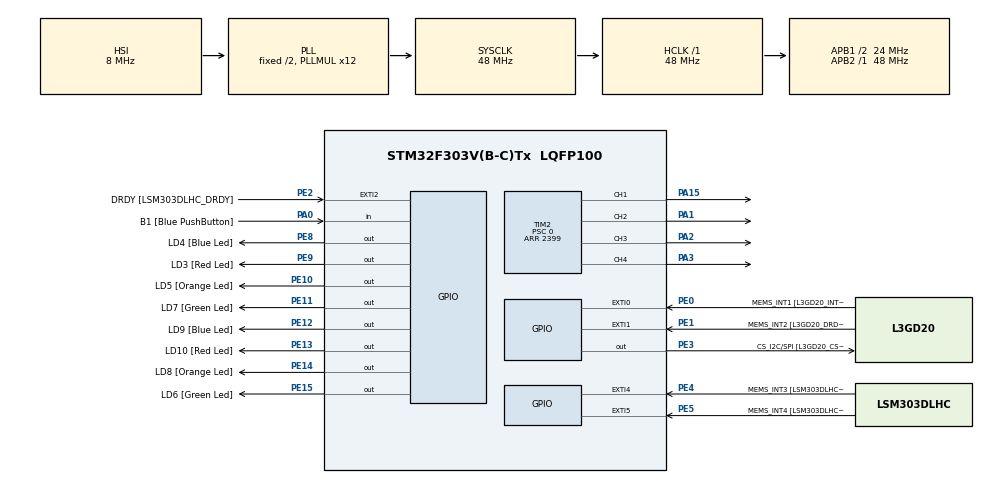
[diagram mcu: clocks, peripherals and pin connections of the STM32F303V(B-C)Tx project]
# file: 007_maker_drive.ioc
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Mcu.Family=STM32F3
Mcu.Name=STM32F303V(B-C)Tx
Mcu.Package=LQFP100
NVIC.PriorityGroup=NVIC_PRIORITYGROUP_0
NVIC.TIM2_IRQn=true\:0\:0\:false\:false\:true\:true\:true\:true
PA0.GPIO_Label=B1 [Blue PushButton]
PA0.GPIO_Mode=GPIO_MODE_INPUT
PA0.GPIO_PuPd=GPIO_NOPULL
PA0.Signal=GPIO_Input
PA1.Signal=S_TIM2_CH2
PA11.GPIO_Label=DM
PA11.Signal=USB_DM
PA12.GPIO_Label=DP
PA12.Signal=USB_DP
PA13.GPIO_Label=SWDIO
PA13.Signal=SYS_JTMS-SWDIO
PA14.GPIO_Label=SWCLK
PA14.Signal=SYS_JTCK-SWCLK
PA15.Signal=S_TIM2_CH1_ETR
PA2.Signal=S_TIM2_CH3
PA3.Signal=S_TIM2_CH4
PA5.GPIO_Label=SPI1_SCK [L3GD20_SCL/SPC]
PA5.GPIO_Mode=GPIO_MODE_AF_PP
PA5.GPIO_PuPd=GPIO_NOPULL
PA5.GPIO_Speed=GPIO_SPEED_FREQ_LOW
PA5.Signal=SPI1_SCK
PA6.GPIO_Label=SPI1_MISO [L3GD20_SA0/SDO]
PA6.GPIO_Mode=GPIO_MODE_AF_PP
PA6.GPIO_PuPd=GPIO_NOPULL
PA6.GPIO_Speed=GPIO_SPEED_FREQ_LOW
PA6.Signal=SPI1_MISO
PA7.GPIO_Label=SPI1_MISO [L3GD20_SDA/SDI/SDO]
PA7.GPIO_Mode=GPIO_MODE_AF_PP
PA7.GPIO_PuPd=GPIO_NOPULL
PA7.GPIO_Speed=GPIO_SPEED_FREQ_LOW
PA7.Signal=SPI1_MOSI
PB3.GPIO_Label=SWO
PB3.Signal=SYS_JTDO-TRACESWO
PB6.GPIO_FM6=__NULL
PB6.GPIO_Label=I2C1_SCL [LSM303DLHC_SCL]
PB6.GPIO_Mode=GPIO_MODE_AF_OD
PB6.GPIO_PuPd=GPIO_NOPULL
PB6.GPIO_Speed=GPIO_SPEED_FREQ_LOW
PB6.Signal=I2C1_SCL
PB7.GPIO_FM7=__NULL
PB7.GPIO_Label=I2C1_SDA [LSM303DLHC_SDA]
PB7.GPIO_Mode=GPIO_MODE_AF_OD
PB7.GPIO_PuPd=GPIO_NOPULL
PB7.GPIO_Speed=GPIO_SPEED_FREQ_LOW
PB7.Signal=I2C1_SDA
PC14-OSC32_IN.GPIO_Label=OSC32_IN
PC14-OSC32_IN.Signal=RCC_OSC32_IN
PC15-OSC32_OUT.GPIO_Label=OSC32_OUT
PC15-OSC32_OUT.Signal=RCC_OSC32_OUT
PE0.GPIO_Label=MEMS_INT1 [L3GD20_INT1]
PE0.GPIO_ModeDefaultEXTI=GPIO_MODE_EVT_RISING
PE0.GPIO_PuPd=GPIO_NOPULL
PE0.Signal=GPXTI0
PE1.GPIO_Label=MEMS_INT2 [L3GD20_DRDY/INT2]
PE1.GPIO_ModeDefaultEXTI=GPIO_MODE_EVT_RISING
PE1.GPIO_PuPd=GPIO_NOPULL
PE1.Signal=GPXTI1
PE10.GPIO_Label=LD5 [Orange Led]
PE10.GPIO_ModeDefaultOutputPP=GPIO_MODE_OUTPUT_PP
PE10.GPIO_PuPd=GPIO_NOPULL
PE10.GPIO_Speed=GPIO_SPEED_FREQ_LOW
PE10.Signal=GPIO_Output
PE11.GPIO_Label=LD7 [Green Led]
PE11.GPIO_ModeDefaultOutputPP=GPIO_MODE_OUTPUT_PP
PE11.GPIO_PuPd=GPIO_NOPULL
PE11.GPIO_Speed=GPIO_SPEED_FREQ_LOW
PE11.Signal=GPIO_Output
PE12.GPIO_Label=LD9 [Blue Led]
PE12.GPIO_ModeDefaultOutputPP=GPIO_MODE_OUTPUT_PP
PE12.GPIO_PuPd=GPIO_NOPULL
PE12.GPIO_Speed=GPIO_SPEED_FREQ_LOW
PE12.Signal=GPIO_Output
PE13.GPIO_Label=LD10 [Red Led]
PE13.GPIO_ModeDefaultOutputPP=GPIO_MODE_OUTPUT_PP
PE13.GPIO_PuPd=GPIO_NOPULL
PE13.GPIO_Speed=GPIO_SPEED_FREQ_LOW
PE13.Signal=GPIO_Output
PE14.GPIO_Label=LD8 [Orange Led]
PE14.GPIO_ModeDefaultOutputPP=GPIO_MODE_OUTPUT_PP
PE14.GPIO_PuPd=GPIO_NOPULL
PE14.GPIO_Speed=GPIO_SPEED_FREQ_LOW
PE14.Signal=GPIO_Output
PE15.GPIO_Label=LD6 [Green Led]
PE15.GPIO_ModeDefaultOutputPP=GPIO_MODE_OUTPUT_PP
PE15.GPIO_PuPd=GPIO_NOPULL
PE15.GPIO_Speed=GPIO_SPEED_FREQ_LOW
PE15.Signal=GPIO_Output
PE2.GPIO_Label=DRDY [LSM303DLHC_DRDY]
PE2.GPIO_ModeDefaultEXTI=GPIO_MODE_EVT_RISING
PE2.GPIO_PuPd=GPIO_NOPULL
PE2.Signal=GPXTI2
PE3.GPIO_Label=CS_I2C/SPI [L3GD20_CS_I2C/SPI]
PE3.GPIO_ModeDefaultOutputPP=GPIO_MODE_OUTPUT_PP
PE3.GPIO_PuPd=GPIO_NOPULL
PE3.GPIO_Speed=GPIO_SPEED_FREQ_LOW
PE3.Signal=GPIO_Output
PE4.GPIO_Label=MEMS_INT3 [LSM303DLHC_INT1]
PE4.GPIO_ModeDefaultEXTI=GPIO_MODE_EVT_RISING
PE4.GPIO_PuPd=GPIO_NOPULL
PE4.Signal=GPXTI4
PE5.GPIO_Label=MEMS_INT4 [LSM303DLHC_INT2]
PE5.GPIO_ModeDefaultEXTI=GPIO_MODE_EVT_RISING
PE5.GPIO_PuPd=GPIO_NOPULL
PE5.Signal=GPXTI5
PE8.GPIO_Label=LD4 [Blue Led]
PE8.GPIO_ModeDefaultOutputPP=GPIO_MODE_OUTPUT_PP
PE8.GPIO_PuPd=GPIO_NOPULL
PE8.GPIO_Speed=GPIO_SPEED_FREQ_LOW
PE8.Signal=GPIO_Output
PE9.GPIO_Label=LD3 [Red Led]
PE9.GPIO_ModeDefaultOutputPP=GPIO_MODE_OUTPUT_PP
PE9.GPIO_PuPd=GPIO_NOPULL
PE9.GPIO_Speed=GPIO_SPEED_FREQ_LOW
PE9.Signal=GPIO_Output
PF0-OSC_IN.GPIO_Label=OSC_IN
PF0-OSC_IN.Signal=RCC_OSC_IN
PF1-OSC_OUT.GPIO_Label=OSC_OUT
PF1-OSC_OUT.Signal=RCC_OSC_OUT
ProjectManager.HeapSize=0x200
ProjectManager.StackSize=0x400
ProjectManager.TargetToolchain=STM32CubeIDE
RCC.AHBFreq_Value=48000000
RCC.APB1CLKDivider=RCC_HCLK_DIV2
RCC.APB1Freq_Value=24000000
RCC.APB1TimFreq_Value=48000000
RCC.APB2Freq_Value=48000000
RCC.APB2TimFreq_Value=48000000
RCC.CortexFreq_Value=48000000
RCC.HCLKFreq_Value=48000000
RCC.HSE_VALUE=8000000
RCC.HSI_VALUE=8000000
RCC.LSE_VALUE=32768
RCC.PLLMUL=RCC_PLL_MUL12
RCC.SYSCLKFreq_VALUE=48000000
RCC.SYSCLKSourceVirtual=RCC_SYSCLKSOURCE_PLLCLK
RCC.USBFreq_Value=48000000
SH.S_TIM2_CH1_ETR.0=TIM2_CH1,PWM Generation1 CH1
SH.S_TIM2_CH2.0=TIM2_CH2,PWM Generation2 CH2
SH.S_TIM2_CH3.0=TIM2_CH3,PWM Generation3 CH3
SH.S_TIM2_CH4.0=TIM2_CH4,PWM Generation4 CH4
TIM2.Channel-PWM\ Generation1\ CH1=TIM_CHANNEL_1
TIM2.Channel-PWM\ Generation2\ CH2=TIM_CHANNEL_2
TIM2.Channel-PWM\ Generation3\ CH3=TIM_CHANNEL_3
TIM2.Channel-PWM\ Generation4\ CH4=TIM_CHANNEL_4
TIM2.Period=2399
TIM2.Prescaler=0
VP_TIM2_VS_ClockSourceINT.Mode=Internal
board=STM32F3DISCOVERY

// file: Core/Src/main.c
/* USER CODE BEGIN Header */
/**
  ******************************************************************************
  * @file           : main.c
  * @brief          : Main program body
  ******************************************************************************
  * @attention
  *
  * Copyright (c) 2025 STMicroelectronics.
  * All rights reserved.
  *
  * This software is licensed under terms that can be found in the LICENSE file
  * in the root directory of this software component.
  * If no LICENSE file comes with this software, it is provided AS-IS.
  *
  ******************************************************************************
PA1 - TIM2_CH2 -> M2A
PA2 - TIM2_CH3 -> M1B
PA3 - TIM2_CH4 -> M1A
PA15 - TIM2_CH1 -> M2B

// Configure timer for ~20kHz PWM with better resolution
// System clock: 48MHz
// For 20kHz with 1000 steps: 48MHz / 20kHz / 1000 = 2.4
// Use prescaler=1, period=2399 for 20kHz
htim2.Init.Prescaler = 0;      // 1-1
htim2.Init.Period = 2399;      // 2400-1
  */
/* USER CODE END Header */
#include "main.h"

TIM_HandleTypeDef htim2;

void SystemClock_Config(void);
static void MX_GPIO_Init(void);
static void MX_TIM2_Init(void);
/* USER CODE BEGIN PFP */
void setMotor1(int16_t speed) {
  // Limit speed to valid range (-2400 to 2400)
  if (speed > 2400) speed = 2400;
  if (speed < -2400) speed = -2400;

  if (speed > 0) {
    // Forward: M1A PWM, M1B LOW
    __HAL_TIM_SET_COMPARE(&htim2, TIM_CHANNEL_4, speed);
    __HAL_TIM_SET_COMPARE(&htim2, TIM_CHANNEL_3, 0);
  } else if (speed < 0) {
    // Backward: M1A LOW, M1B PWM
    __HAL_TIM_SET_COMPARE(&htim2, TIM_CHANNEL_4, 0);
    __HAL_TIM_SET_COMPARE(&htim2, TIM_CHANNEL_3, -speed);
  } else {
    // Brake: Both LOW
    __HAL_TIM_SET_COMPARE(&htim2, TIM_CHANNEL_4, 0);
    __HAL_TIM_SET_COMPARE(&htim2, TIM_CHANNEL_3, 0);
  }
}

void setMotor2(int16_t speed) {
  // Limit speed to valid range (-2400 to 2400)
  if (speed > 2400) speed = 2400;
  if (speed < -2400) speed = -2400;

  if (speed > 0) {
    // Forward: M2A PWM, M2B LOW
    __HAL_TIM_SET_COMPARE(&htim2, TIM_CHANNEL_2, speed);
    __HAL_TIM_SET_COMPARE(&htim2, TIM_CHANNEL_1, 0);
  } else if (speed < 0) {
    // Backward: M2A LOW, M2B PWM
    __HAL_TIM_SET_COMPARE(&htim2, TIM_CHANNEL_2, 0);
    __HAL_TIM_SET_COMPARE(&htim2, TIM_CHANNEL_1, -speed);
  } else {
    // Brake: Both LOW
    __HAL_TIM_SET_COMPARE(&htim2, TIM_CHANNEL_2, 0);
    __HAL_TIM_SET_COMPARE(&htim2, TIM_CHANNEL_1, 0);
  }
}
/* USER CODE END PFP */

int main(void)
{

  /* MCU Configuration--------------------------------------------------------*/

  /* Reset of all peripherals, Initializes the Flash interface and the Systick. */
  HAL_Init();

  /* Configure the system clock */
  SystemClock_Config();

  /* Initialize all configured peripherals */
  MX_GPIO_Init();
  MX_TIM2_Init();
  /* USER CODE BEGIN 2 */

  HAL_TIM_PWM_Start(&htim2, TIM_CHANNEL_1);
  HAL_TIM_PWM_Start(&htim2, TIM_CHANNEL_2);
  HAL_TIM_PWM_Start(&htim2, TIM_CHANNEL_3);
  HAL_TIM_PWM_Start(&htim2, TIM_CHANNEL_4);
  /* USER CODE END 2 */

  /* Infinite loop */
  /* USER CODE BEGIN WHILE */
  while (1)
  {
	  // Example: Motor 1 forward at 75% speed (1800/2400)
	  setMotor1(1800);

	  // Example: Motor 2 backward at 50% speed (-1200/2400)
	  setMotor2(-1200);

	  HAL_Delay(3000);

	  // Brake both motors
	  setMotor1(0);
	  setMotor2(0);

	  HAL_Delay(1000);

	    HAL_Delay(2000);
    /* USER CODE END WHILE */

  }
}

void SystemClock_Config(void)
{
  RCC_OscInitTypeDef RCC_OscInitStruct = {0};
  RCC_ClkInitTypeDef RCC_ClkInitStruct = {0};

  /** Initializes the RCC Oscillators according to the specified parameters
  * in the RCC_OscInitTypeDef structure.
  */
  RCC_OscInitStruct.OscillatorType = RCC_OSCILLATORTYPE_HSI;
  RCC_OscInitStruct.HSIState = RCC_HSI_ON;
  RCC_OscInitStruct.HSICalibrationValue = RCC_HSICALIBRATION_DEFAULT;
  RCC_OscInitStruct.PLL.PLLState = RCC_PLL_ON;
  RCC_OscInitStruct.PLL.PLLSource = RCC_PLLSOURCE_HSI;
  RCC_OscInitStruct.PLL.PLLMUL = RCC_PLL_MUL12;
  if (HAL_RCC_OscConfig(&RCC_OscInitStruct) != HAL_OK)
  {
    Error_Handler();
  }

  /** Initializes the CPU, AHB and APB buses clocks
  */
  RCC_ClkInitStruct.ClockType = RCC_CLOCKTYPE_HCLK|RCC_CLOCKTYPE_SYSCLK
                              |RCC_CLOCKTYPE_PCLK1|RCC_CLOCKTYPE_PCLK2;
  RCC_ClkInitStruct.SYSCLKSource = RCC_SYSCLKSOURCE_PLLCLK;
  RCC_ClkInitStruct.AHBCLKDivider = RCC_SYSCLK_DIV1;
  RCC_ClkInitStruct.APB1CLKDivider = RCC_HCLK_DIV2;
  RCC_ClkInitStruct.APB2CLKDivider = RCC_HCLK_DIV1;

  if (HAL_RCC_ClockConfig(&RCC_ClkInitStruct, FLASH_LATENCY_1) != HAL_OK)
  {
    Error_Handler();
  }
}

static void MX_TIM2_Init(void)
{

  TIM_ClockConfigTypeDef sClockSourceConfig = {0};
  TIM_MasterConfigTypeDef sMasterConfig = {0};
  TIM_OC_InitTypeDef sConfigOC = {0};

  htim2.Instance = TIM2;
  htim2.Init.Prescaler = 0;
  htim2.Init.CounterMode = TIM_COUNTERMODE_UP;
  htim2.Init.Period = 2399;
  htim2.Init.ClockDivision = TIM_CLOCKDIVISION_DIV1;
  htim2.Init.AutoReloadPreload = TIM_AUTORELOAD_PRELOAD_DISABLE;
  if (HAL_TIM_Base_Init(&htim2) != HAL_OK)
  {
    Error_Handler();
  }
  sClockSourceConfig.ClockSource = TIM_CLOCKSOURCE_INTERNAL;
  if (HAL_TIM_ConfigClockSource(&htim2, &sClockSourceConfig) != HAL_OK)
  {
    Error_Handler();
  }
  if (HAL_TIM_PWM_Init(&htim2) != HAL_OK)
  {
    Error_Handler();
  }
  sMasterConfig.MasterOutputTrigger = TIM_TRGO_RESET;
  sMasterConfig.MasterSlaveMode = TIM_MASTERSLAVEMODE_DISABLE;
  if (HAL_TIMEx_MasterConfigSynchronization(&htim2, &sMasterConfig) != HAL_OK)
  {
    Error_Handler();
  }
  sConfigOC.OCMode = TIM_OCMODE_PWM1;
  sConfigOC.Pulse = 0;
  sConfigOC.OCPolarity = TIM_OCPOLARITY_HIGH;
  sConfigOC.OCFastMode = TIM_OCFAST_DISABLE;
  if (HAL_TIM_PWM_ConfigChannel(&htim2, &sConfigOC, TIM_CHANNEL_1) != HAL_OK)
  {
    Error_Handler();
  }
  if (HAL_TIM_PWM_ConfigChannel(&htim2, &sConfigOC, TIM_CHANNEL_2) != HAL_OK)
  {
    Error_Handler();
  }
  if (HAL_TIM_PWM_ConfigChannel(&htim2, &sConfigOC, TIM_CHANNEL_3) != HAL_OK)
  {
    Error_Handler();
  }
  if (HAL_TIM_PWM_ConfigChannel(&htim2, &sConfigOC, TIM_CHANNEL_4) != HAL_OK)
  {
    Error_Handler();
  }
  HAL_TIM_MspPostInit(&htim2);

}

static void MX_GPIO_Init(void)
{
  GPIO_InitTypeDef GPIO_InitStruct = {0};

  /* GPIO Ports Clock Enable */
  __HAL_RCC_GPIOE_CLK_ENABLE();
  __HAL_RCC_GPIOC_CLK_ENABLE();
  __HAL_RCC_GPIOF_CLK_ENABLE();
  __HAL_RCC_GPIOA_CLK_ENABLE();
  __HAL_RCC_GPIOB_CLK_ENABLE();

  /*Configure GPIO pin Output Level */
  HAL_GPIO_WritePin(GPIOE, CS_I2C_SPI_Pin|LD4_Pin|LD3_Pin|LD5_Pin
                          |LD7_Pin|LD9_Pin|LD10_Pin|LD8_Pin
                          |LD6_Pin, GPIO_PIN_RESET);

  /*Configure GPIO pins : DRDY_Pin MEMS_INT3_Pin MEMS_INT4_Pin MEMS_INT1_Pin
                           MEMS_INT2_Pin */
  GPIO_InitStruct.Pin = DRDY_Pin|MEMS_INT3_Pin|MEMS_INT4_Pin|MEMS_INT1_Pin
                          |MEMS_INT2_Pin;
  GPIO_InitStruct.Mode = GPIO_MODE_EVT_RISING;
  GPIO_InitStruct.Pull = GPIO_NOPULL;
  HAL_GPIO_Init(GPIOE, &GPIO_InitStruct);

  /*Configure GPIO pins : CS_I2C_SPI_Pin LD4_Pin LD3_Pin LD5_Pin
                           LD7_Pin LD9_Pin LD10_Pin LD8_Pin
                           LD6_Pin */
  GPIO_InitStruct.Pin = CS_I2C_SPI_Pin|LD4_Pin|LD3_Pin|LD5_Pin
                          |LD7_Pin|LD9_Pin|LD10_Pin|LD8_Pin
                          |LD6_Pin;
  GPIO_InitStruct.Mode = GPIO_MODE_OUTPUT_PP;
  GPIO_InitStruct.Pull = GPIO_NOPULL;
  GPIO_InitStruct.Speed = GPIO_SPEED_FREQ_LOW;
  HAL_GPIO_Init(GPIOE, &GPIO_InitStruct);

  /*Configure GPIO pin : B1_Pin */
  GPIO_InitStruct.Pin = B1_Pin;
  GPIO_InitStruct.Mode = GPIO_MODE_INPUT;
  GPIO_InitStruct.Pull = GPIO_NOPULL;
  HAL_GPIO_Init(B1_GPIO_Port, &GPIO_InitStruct);

  /*Configure GPIO pins : SPI1_SCK_Pin SPI1_MISO_Pin SPI1_MISOA7_Pin */
  GPIO_InitStruct.Pin = SPI1_SCK_Pin|SPI1_MISO_Pin|SPI1_MISOA7_Pin;
  GPIO_InitStruct.Mode = GPIO_MODE_AF_PP;
  GPIO_InitStruct.Pull = GPIO_NOPULL;
  GPIO_InitStruct.Speed = GPIO_SPEED_FREQ_LOW;
  GPIO_InitStruct.Alternate = GPIO_AF5_SPI1;
  HAL_GPIO_Init(GPIOA, &GPIO_InitStruct);

  /*Configure GPIO pins : DM_Pin DP_Pin */
  GPIO_InitStruct.Pin = DM_Pin|DP_Pin;
  GPIO_InitStruct.Mode = GPIO_MODE_AF_PP;
  GPIO_InitStruct.Pull = GPIO_NOPULL;
  GPIO_InitStruct.Speed = GPIO_SPEED_FREQ_HIGH;
  GPIO_InitStruct.Alternate = GPIO_AF14_USB;
  HAL_GPIO_Init(GPIOA, &GPIO_InitStruct);

  /*Configure GPIO pins : I2C1_SCL_Pin I2C1_SDA_Pin */
  GPIO_InitStruct.Pin = I2C1_SCL_Pin|I2C1_SDA_Pin;
  GPIO_InitStruct.Mode = GPIO_MODE_AF_OD;
  GPIO_InitStruct.Pull = GPIO_NOPULL;
  GPIO_InitStruct.Speed = GPIO_SPEED_FREQ_LOW;
  GPIO_InitStruct.Alternate = GPIO_AF4_I2C1;
  HAL_GPIO_Init(GPIOB, &GPIO_InitStruct);

}

void Error_Handler(void)
{
  __disable_irq();
  while (1)
  {
  }
}
